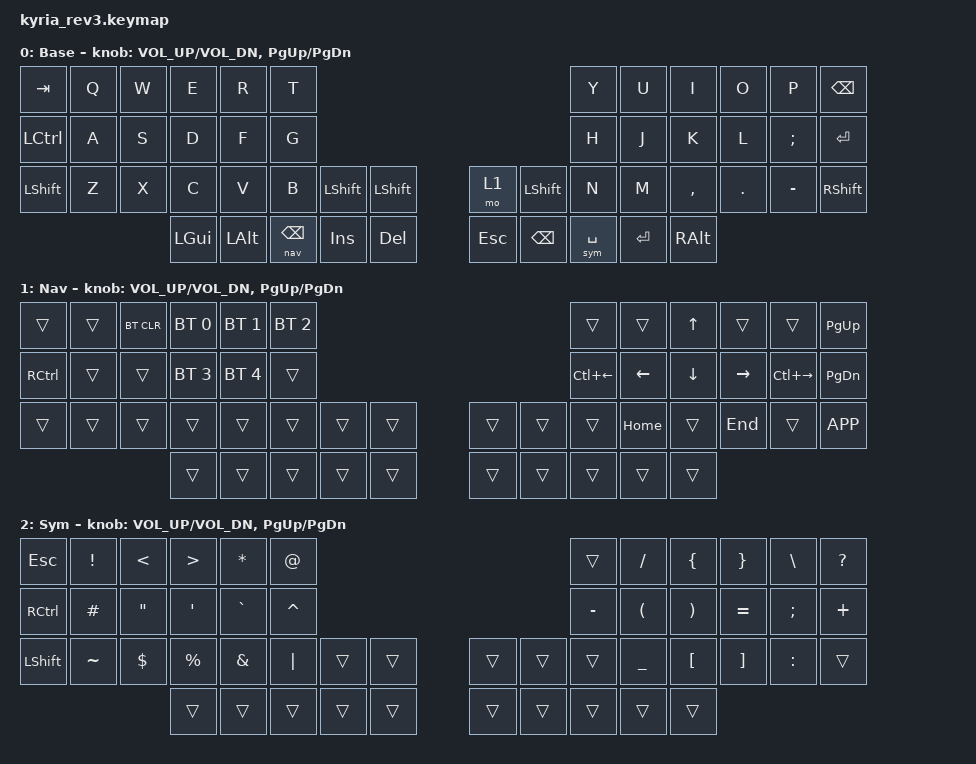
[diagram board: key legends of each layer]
/*
 * Copyright (c) 2023 The ZMK Contributors
 *
 * SPDX-License-Identifier: MIT
 */


#define base 0
#define nav 1
#define sym 2
// #define move 3
// #define num 4
// #define mouse 5

#include <dt-bindings/zmk/bt.h>
#include <dt-bindings/zmk/keys.h>

/* Uncomment this block if using RGB
&led_strip {
    chain-length = <6>;
    // chain-length = <31>; // Uncomment if using both per-key and underglow LEDs
    // chain-length = <25>; // Uncomment if using only per-key LEDs.
};
 */

//SQT is used for single quote, SEMI is used for semicolon


/ {
    keymap {
        compatible = "zmk,keymap";

        base_layer {
            display-name = "Base";
            // ---------------------------------------------------------------------------------------------------------------------------------
            // |  TAB  |  Q  |  W  |  E   |  R   |  T   |                                          |  Y   |  U    |  I    |  O   |   P   |   BSPC  |
            // |  LCTRL  |  A  |  S  |  D   |  F   |  G   |                                          |  H   |  J    |  K    |  L   |   ;   |   RET  |
            // | LSHIFT |  Z  |  X  |  C   |  V   |  B   | L SHIFT | L SHIFT |  | LAYER 1 | L SHIFT |  N   |  M    |  ,    |  .   |  MINUS | RSHFT |
            //                     | GUI  | LALT  | lt-1/BSPC  |  INS  |   DEL   |  |   ESC   |  BSPC  | lt-2/SPACE  | RET  | R-ALT |
            bindings = <
            &kp TAB   &kp Q &kp W &kp E &kp R &kp T                                                  &kp Y &kp U  &kp I     &kp O   &kp P    &kp BSPC
            &kp LCTRL   &kp A &kp S &kp D &kp F &kp G                                                  &kp H &kp J  &kp K     &kp L   &kp SEMI &kp RET
            &kp LSHFT &kp Z &kp X &kp C &kp V &kp B &kp LSHFT &kp LSHFT            &mo 1   &kp LSHFT &kp N &kp M  &kp COMMA &kp DOT &kp MINUS &kp RSHFT
            &kp LGUI &kp LALT &lt nav BSPC &kp INS &kp DEL       &kp ESC &kp BSPC &lt sym SPACE &kp RET &kp RALT
            >;

            sensor-bindings = <&inc_dec_kp C_VOL_UP C_VOL_DN &inc_dec_kp PG_UP PG_DN>;
        };
        nav_layer {
            display-name = "Nav";
            // ---------------------------------------------------------------------------------------------------------------------------------
            // |       |      |BT_CLR|BTSEL0|BTSEL1|BTSEL2|                                         |      |      |  UP    |      |      |   PG_UP   |
            // | RCTRL |      |      |BTSEL3|BTSEL4|      |                                         |LC(LFT)| LEFT|  DOWN  |RIGHT |LC(RGHT)| PG_DN   |
            // |       |      |      |      |      |      |      |      |      |      |      |      |      | HOME |        | END  |      |  Ctx MENU |
            //                       |      |      |      |      |      |      |      |      |      |      |      |      |
            bindings = <
            &trans &trans &bt BT_CLR &bt BT_SEL 0 &bt BT_SEL 1 &bt BT_SEL 2              &trans &trans &kp UP &trans &trans &kp PG_UP
            &kp RCTRL &trans &trans     &bt BT_SEL 3 &bt BT_SEL 4 &trans                    &kp LC(LEFT) &kp LEFT &kp DOWN &kp RIGHT &kp LC(RIGHT) &kp PG_DN
            &trans &trans &trans &trans &trans &trans &trans &trans        &trans &trans &trans &kp HOME &trans &kp END &trans &kp K_APP
            &trans &trans &trans &trans &trans        &trans &trans &trans &trans &trans
            >;

            sensor-bindings = <&inc_dec_kp C_VOL_UP C_VOL_DN &inc_dec_kp PG_UP PG_DN>;
        };
        sym_layer {
            display-name = "Sym";
            // ---------------------------------------------------------------------------------------------------------------------------------
            // |  ESC  | EXCL | LT   | GT   | STAR |  AT  |                                         |      | FSLH | LBRC | RBRC | BSLH | QMARK  |
            // | RCTRL | HASH | DQT  | APOS |GRAVE | CARET|                                         | MINUS| LPAR | RPAR | EQUAL| SEMI | PLUS |
            // | LSHFT | TILDE|DOLLAR|PERC  | AMPS | PIPE |      |      |      |      |      |      |      | UNDER| LBKT | RBKT | COLON|      |
            //                       |      |      |      |      |      |      |      |      |      |     |      |      |
            bindings = <
            &kp ESC &kp EXCL &kp LT &kp GT &kp STAR &kp AT              &trans &kp FSLH &kp LBRC &kp RBRC &kp BSLH &kp QMARK
            &kp RCTRL &kp HASH &kp DQT   &kp APOS &kp GRAVE &kp CARET                    &kp MINUS &kp LPAR &kp RPAR &kp EQUAL &kp SEMI &kp PLUS
            &kp LSHFT &kp TILDE &kp DOLLAR &kp PERCENT &kp AMPS &kp PIPE &trans &trans        &trans &trans &trans &kp UNDER &kp LBKT &kp RBKT &kp COLON &trans
            &trans &trans &trans &trans &trans        &trans &trans &trans &trans &trans
            >;

            sensor-bindings = <&inc_dec_kp C_VOL_UP C_VOL_DN &inc_dec_kp PG_UP PG_DN>;
        };
    };
